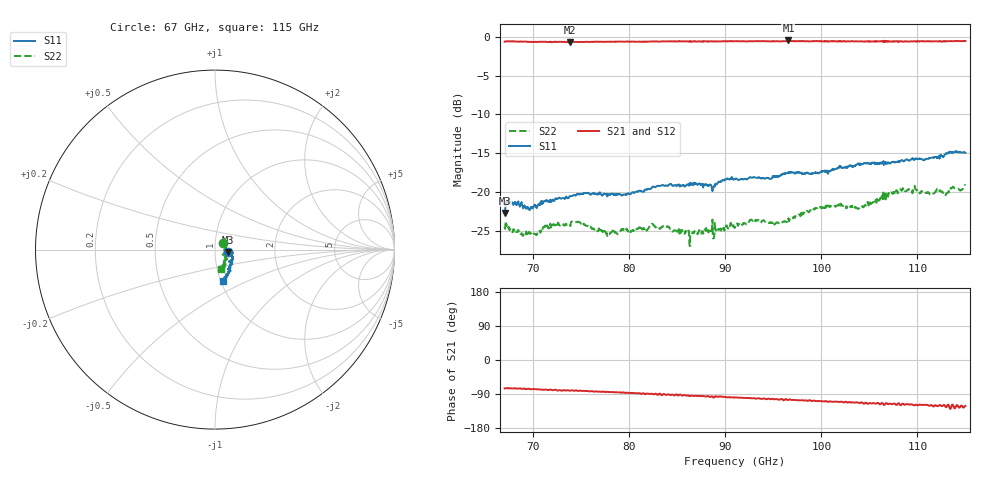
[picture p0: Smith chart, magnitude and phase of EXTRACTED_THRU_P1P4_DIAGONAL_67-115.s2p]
! Generated by Phase I extraction
# Hz S RI R 50
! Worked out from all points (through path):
!   1001 points, 67 GHz to 115 GHz, reference 50 ohm
!   highest |S21| = -0.49 dB at 96.57 GHz (marker M1); lowest = -0.7 dB at 73.77 GHz (marker M2)
!   group delay of S21, straight-line fit = 2.92 ps
!   lowest |S11| = -22.7 dB at 67 GHz (marker M3), VSWR 1.16, Z = 57.8 - j1.52 ohm
!   |S11| at or under -10 dB: start of sweep to end of sweep
!   |S22| runs from -26.9 to -19.1 dB; largest |S21 - S12| = 1.5
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6.7e10  0.0723 -0.013  0.2424 -0.8969  0.8707 -0.3143  0.045 0.0393
6.7384e10  0.0873 -0.0018  0.2548 -0.8972  0.8735 -0.3192  0.0402 0.0432
6.8968e10  0.079 -0.00911  0.2363 -0.9003  0.8673 -0.3386  0.0387 0.036
7.3768e10  0.0932 -0.0128  0.1431 -0.9093  0.8733 -0.3031  0.0471 0.039
7.5016e10  0.096 -0.0173  0.1365 -0.9147  0.8627 -0.3388  0.0513 0.0357
7.78e10  0.093 -0.0286  0.0913 -0.9232  0.8597 -0.3498  0.0494 0.0215
8.236e10  0.0991 -0.0417  0.0147 -0.9311  0.8552 -0.3692  0.0615 0.0122
8.3032e10  0.0997 -0.047  -0.0103 -0.9297  0.8585 -0.3592  0.057 0.0116
8.6488e10  0.0946 -0.0629  -0.065 -0.9262  0.8498 -0.3852  0.0548 0.000131
8.8648e10  0.0808 -0.0618  -0.1026 -0.9276  0.8384 -0.411  0.0575 -0.0338
9.1e10  0.091 -0.0815  -0.1436 -0.923  0.8425 -0.4063  0.0572 -0.0169
9.2776e10  0.087 -0.0882  -0.181 -0.9163  0.8402 -0.4127  0.0622 -0.0221
9.6568e10  0.0841 -0.1054  -0.2495 -0.9117  0.8278 -0.4255  0.0565 -0.038
9.9016e10  0.0774 -0.1074  -0.2967 -0.8847  0.8309 -0.4325  0.0602 -0.0482
1.01848e11  0.0863 -0.1185  -0.3261 -0.873  0.8247 -0.4488  0.0646 -0.0558
1.03912e11  0.0751 -0.1303  -0.368 -0.8547  0.8106 -0.4573  0.0533 -0.0578
1.07032e11  0.0644 -0.1393  -0.4092 -0.8378  0.7954 -0.486  0.0533 -0.0823
1.09816e11  0.0631 -0.1526  -0.433 -0.8222  0.7861 -0.5059  0.0512 -0.0911
1.11832e11  0.0557 -0.1584  -0.4615 -0.8117  0.7745 -0.5186  0.0447 -0.0898
1.12552e11  0.0559 -0.162  -0.4881 -0.7904  0.7867 -0.5007  0.0453 -0.0902
1.13656e11  0.0519 -0.1706  -0.4324 -0.829  0.7337 -0.5815  0.0379 -0.1007
1.15e11  0.047 -0.1731  -0.4845 -0.802  0.7482 -0.564  0.0337 -0.1056
